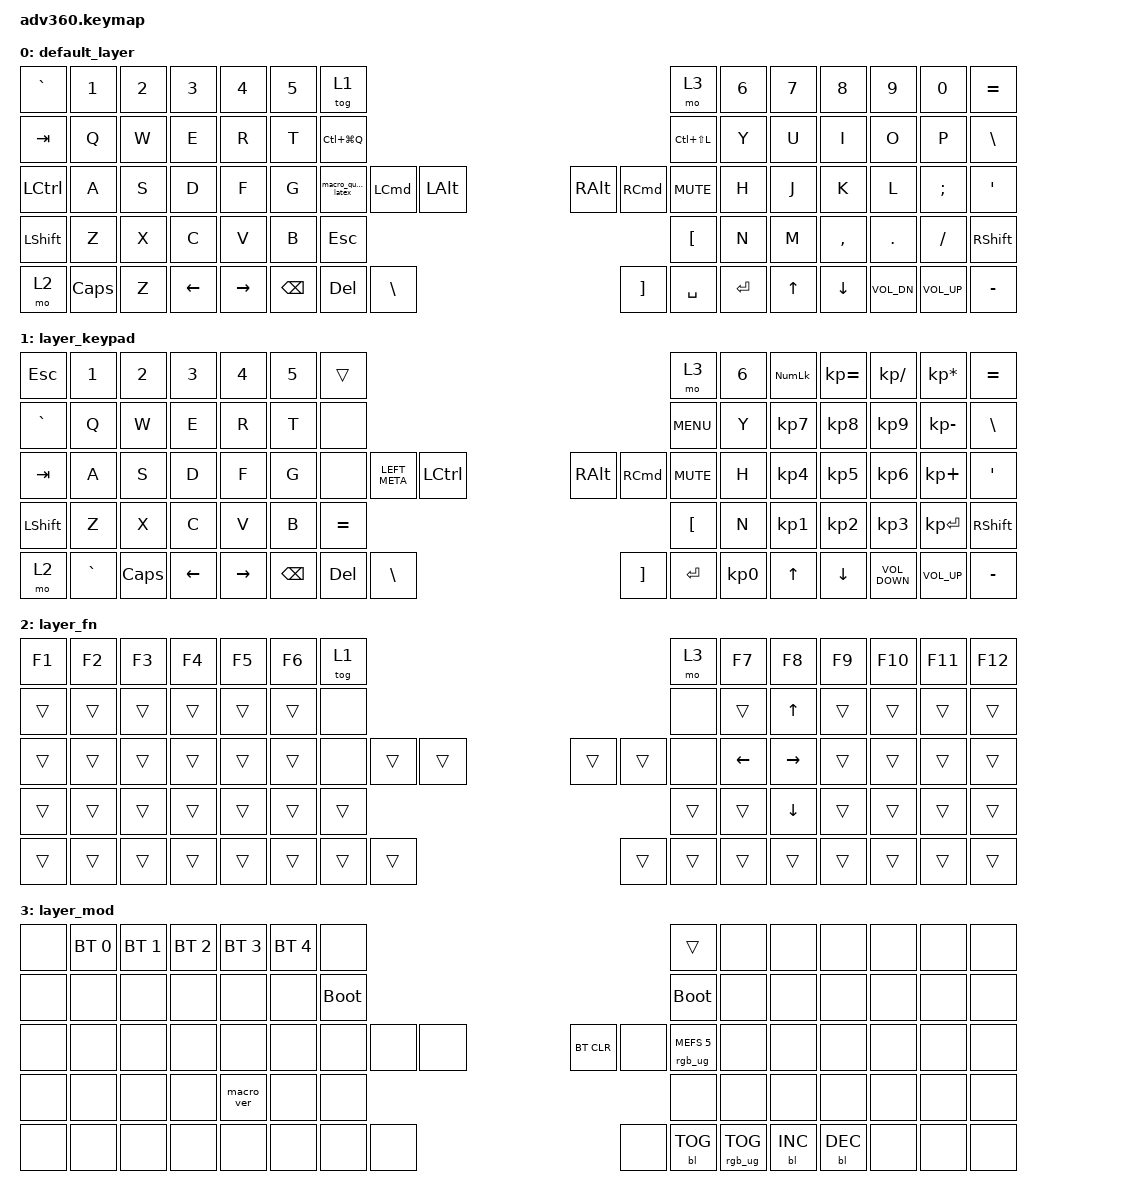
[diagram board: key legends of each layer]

/*
 * Copyright (c) 2020 The ZMK Contributors
 *
 * SPDX-License-Identifier: MIT
 */


/* THIS FILE WAS GENERATED!
 *
 * This file was generated automatically. You may or may not want to
 * edit it directly.
 */

#include <behaviors.dtsi>
#include <dt-bindings/zmk/keys.h>
#include <dt-bindings/zmk/bt.h>
#include <dt-bindings/zmk/rgb.h>
#include <dt-bindings/zmk/backlight.h>

/ {
  behaviors {
    #include "macros.dtsi"
    #include "version.dtsi"

    hm: homerow_mods {
        compatible = "zmk,behavior-hold-tap";
        label = "HOMEROW_MODS";
        #binding-cells = <2>;
        tapping-term-ms = <200>;
        quick_tap_ms = <175>;
        flavor = "tap-preferred";
        bindings = <&kp>, <&kp>;
    };
  };

    keymap {
        compatible = "zmk,keymap";


        default_layer {
            bindings = <
 &kp GRAVE    &kp N1  &kp N2    &kp N3     &kp N4  &kp N5                        &tog 1                                                                                &mo 3  &kp N6  &kp N7     &kp N8        &kp N9        &kp N0  &kp EQUAL
   &kp TAB     &kp Q   &kp W     &kp E      &kp R   &kp T                 &kp LC(LG(Q))                                                                        &kp LC(LS(L))   &kp Y   &kp U      &kp I         &kp O         &kp P   &kp BSLH
 &kp LCTRL     &kp A   &kp S     &kp D      &kp F   &kp G            &macro_quote_latex  &kp LCMD       &kp LALT                  &kp RALT  &kp RIGHT_COMMAND     &kp C_MUTE   &kp H   &kp J      &kp K         &kp L      &kp SEMI    &kp SQT
 &kp LSHFT     &kp Z   &kp X     &kp C      &kp V   &kp B                                                &kp ESC                  &kp LBKT                                     &kp N   &kp M  &kp COMMA       &kp DOT      &kp FSLH  &kp RSHFT
     &mo 2  &kp CAPS   &kp Z  &kp LEFT  &kp RIGHT                              &kp BSPC   &kp DEL  &kp BACKSLASH                  &kp RBKT          &kp SPACE      &kp ENTER          &kp UP   &kp DOWN  &kp C_VOL_DN  &kp C_VOL_UP  &kp MINUS
            >;
        };

        layer_keypad {
            bindings = <
 &kp ESCAPE     &kp N1    &kp N2    &kp N3     &kp N4  &kp N5              &trans                                                                                   &mo 3  &kp N6  &kp KP_NUM  &kp KP_EQUAL      &kp KP_DIVIDE  &kp KP_MULTIPLY  &kp EQUAL
  &kp GRAVE      &kp Q     &kp W     &kp E      &kp R   &kp T               &none                                                                              &kp C_MENU   &kp Y   &kp KP_N7     &kp KP_N8          &kp KP_N9     &kp KP_MINUS   &kp BSLH
    &kp TAB      &kp A     &kp S     &kp D      &kp F   &kp G               &none  &kp LEFT_META      &kp LCTRL                      &kp RIGHT_ALT   &kp RCMD  &kp C_MUTE   &kp H   &kp KP_N4     &kp KP_N5          &kp KP_N6      &kp KP_PLUS    &kp SQT
  &kp LSHFT      &kp Z     &kp X     &kp C      &kp V   &kp B                                         &kp EQUAL                   &kp LEFT_BRACKET                          &kp N   &kp KP_N1     &kp KP_N2          &kp KP_N3     &kp KP_ENTER  &kp RSHFT
      &mo 2  &kp GRAVE  &kp CAPS  &kp LEFT  &kp RIGHT                    &kp BSPC        &kp DEL  &kp BACKSLASH                  &kp RIGHT_BRACKET  &kp ENTER   &kp KP_N0              &kp UP      &kp DOWN  &kp C_VOLUME_DOWN     &kp C_VOL_UP  &kp MINUS
            >;
        };

        layer_fn {
            bindings = <
 &kp F1  &kp F2  &kp F3  &kp F4  &kp F5  &kp F6            &tog 1                                                   &mo 3    &kp F7     &kp F8  &kp F9  &kp F10  &kp F11  &kp F12
 &trans  &trans  &trans  &trans  &trans  &trans             &none                                                   &none    &trans     &kp UP  &trans   &trans   &trans   &trans
 &trans  &trans  &trans  &trans  &trans  &trans             &none  &trans  &trans                  &trans  &trans   &none  &kp LEFT  &kp RIGHT  &trans   &trans   &trans   &trans
 &trans  &trans  &trans  &trans  &trans  &trans                            &trans                  &trans                    &trans   &kp DOWN  &trans   &trans   &trans   &trans
 &trans  &trans  &trans  &trans  &trans                    &trans  &trans  &trans                  &trans  &trans  &trans               &trans  &trans   &trans   &trans   &trans
            >;
        };

        layer_mod {
            bindings = <
  &none  &bt BT_SEL 0  &bt BT_SEL 1  &bt BT_SEL 2  &bt BT_SEL 3  &bt BT_SEL 4                  &none                                                                          &trans   &none       &none       &none   &none   &none   &none
  &none         &none         &none         &none         &none         &none            &bootloader                                                                     &bootloader   &none       &none       &none   &none   &none   &none
  &none         &none         &none         &none         &none         &none                  &none   &none   &none                  &bt BT_CLR       &none  &rgb_ug RGB_MEFS_CMD 5   &none       &none       &none   &none   &none   &none
  &none         &none         &none         &none    &macro_ver         &none                                  &none                       &none                                       &none       &none       &none   &none   &none   &none
  &none         &none         &none         &none         &none                                &none   &none   &none                       &none  &bl BL_TOG         &rgb_ug RGB_TOG          &bl BL_INC  &bl BL_DEC   &none   &none   &none
            >;
        };

    };
};
